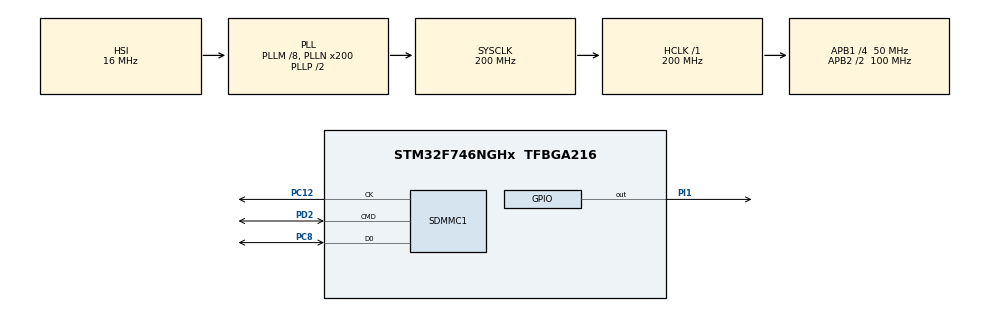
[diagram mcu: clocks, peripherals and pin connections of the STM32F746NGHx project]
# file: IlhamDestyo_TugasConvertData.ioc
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CORTEX_M7.ART_ACCELERATOR_ENABLE=1
CORTEX_M7.CPU_DCache=Enabled
CORTEX_M7.CPU_ICache=Enabled
CORTEX_M7.PREFETCH_ENABLE=1
FATFS._USE_LFN=2
Mcu.Family=STM32F7
Mcu.Name=STM32F746NGHx
Mcu.Package=TFBGA216
NVIC.PriorityGroup=NVIC_PRIORITYGROUP_4
NVIC.RCC_IRQn=true\:0\:0\:false\:false\:true\:true\:false\:true
PA13.Mode=Serial_Wire
PA13.Signal=SYS_JTMS-SWDIO
PA14.Mode=Serial_Wire
PA14.Signal=SYS_JTCK-SWCLK
PC12.Mode=SD_1_bit
PC12.Signal=SDMMC1_CK
PC14/OSC32_IN.Mode=LSE-External-Oscillator
PC14/OSC32_IN.Signal=RCC_OSC32_IN
PC15/OSC32_OUT.Mode=LSE-External-Oscillator
PC15/OSC32_OUT.Signal=RCC_OSC32_OUT
PC8.Mode=SD_1_bit
PC8.Signal=SDMMC1_D0
PD2.Mode=SD_1_bit
PD2.Signal=SDMMC1_CMD
PH0/OSC_IN.Mode=HSE-External-Oscillator
PH0/OSC_IN.Signal=RCC_OSC_IN
PH1/OSC_OUT.Mode=HSE-External-Oscillator
PH1/OSC_OUT.Signal=RCC_OSC_OUT
PI1.Signal=GPIO_Output
ProjectManager.HeapSize=0x400
ProjectManager.StackSize=0x800
ProjectManager.TargetToolchain=STM32CubeIDE
RCC.AHBFreq_Value=200000000
RCC.APB1CLKDivider=RCC_HCLK_DIV4
RCC.APB1Freq_Value=50000000
RCC.APB1TimFreq_Value=100000000
RCC.APB2CLKDivider=RCC_HCLK_DIV2
RCC.APB2Freq_Value=100000000
RCC.APB2TimFreq_Value=200000000
RCC.CortexFreq_Value=200000000
RCC.HCLKFreq_Value=200000000
RCC.HSE_VALUE=25000000
RCC.HSI_VALUE=16000000
RCC.PLLM=8
RCC.PLLN=200
RCC.PLLQ=8
RCC.PLLSourceVirtual=RCC_PLLSOURCE_HSI
RCC.SDMMCClockSelection=RCC_SDMMC1CLKSOURCE_CLK48
RCC.SYSCLKFreq_VALUE=200000000
RCC.SYSCLKSource=RCC_SYSCLKSOURCE_PLLCLK
RCC.USBFreq_Value=50000000
RCC.VCOOutputFreq_Value=400000000
VP_CRC_VS_CRC.Mode=CRC_Activate
VP_DMA2D_VS_DMA2D.Mode=DMA2D_Activate
VP_FATFS_VS_SDIO.Mode=SDIO
board=STM32F746G-DISCO

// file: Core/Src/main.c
/* USER CODE BEGIN Header */
/**
  ******************************************************************************
  * @file           : main.c
  * @brief          : Main program body
  ******************************************************************************
  * @attention
  *
  * Copyright (c) 2022 STMicroelectronics.
  * All rights reserved.
  *
  * This software is licensed under terms that can be found in the LICENSE file
  * in the root directory of this software component.
  * If no LICENSE file comes with this software, it is provided AS-IS.
  *
  ******************************************************************************
  */
/* USER CODE END Header */
#include "main.h"
#include "fatfs.h"

/* USER CODE BEGIN Includes */
#include <stdio.h>
#include <stdlib.h>
#include <string.h>
/* USER CODE END Includes */

CRC_HandleTypeDef hcrc;

DMA2D_HandleTypeDef hdma2d;

SD_HandleTypeDef hsd1;

/* USER CODE BEGIN PV */
FRESULT res; // fatfs return code
FATFS SDFatFs; /* Work area (filesystem object) for logical drive */
FIL MyFile; // file object

char SdPath[10];
uint32_t byteswritten, bytesread;

int datainput_1[999],datainput_2[999],datainput_3[999];
int number_data;
char *txtResult;
char datain1[200],dataraw[999][200];
/* USER CODE END PV */

void SystemClock_Config(void);
static void MX_GPIO_Init(void);
static void MX_SDMMC1_SD_Init(void);
static void MX_DMA2D_Init(void);
static void MX_CRC_Init(void);
/* USER CODE BEGIN PFP */
void mySD_Init();
void mySD_Mount();
void error1();
void reset();
void soal1();
void soal2();
void soal3();
void soal4();
void soal5();
void read_file(char *namafile);
void save_data_file(char *namafile, dataInput datatulis);

typedef enum _bool {
	false = 0,
	true = 1
} boolean;

/* USER CODE END PFP */

/* USER CODE BEGIN 0 */
TS_StateTypeDef  ts;
char xTouchStr[10];
/* USER CODE END 0 */

int main(void)
{

  /* Enable I-Cache---------------------------------------------------------*/
  SCB_EnableICache();

  /* Enable D-Cache---------------------------------------------------------*/
  SCB_EnableDCache();

  /* MCU Configuration--------------------------------------------------------*/

  /* Reset of all peripherals, Initializes the Flash interface and the Systick. */
  HAL_Init();

  /* Configure the system clock */
  SystemClock_Config();

  /* Initialize all configured peripherals */
  MX_GPIO_Init();
  MX_SDMMC1_SD_Init();
  MX_FATFS_Init();
  MX_DMA2D_Init();
  MX_CRC_Init();
  /* USER CODE BEGIN 2 */

  BSP_SDRAM_Init(); /* Initializes the SDRAM device */
  __HAL_RCC_CRC_CLK_ENABLE(); /* Enable the CRC Module */
  BSP_TS_Init(480, 272);//Inisialisasi 480x272 color LCD-TFT with capacitive touch screen
  BSP_LCD_Init(); //Inisialisasi LCD on
  BSP_LCD_LayerDefaultInit(LTDC_ACTIVE_LAYER, LCD_FB_START_ADDRESS); //Initializes the LCD layer in ARGB8888 format (32 bits per pixel).
  BSP_LCD_SelectLayer(LTDC_ACTIVE_LAYER);//LCD select layer

  //Delay Process
  BSP_LCD_Clear(LCD_COLOR_DARKGREEN);
  BSP_LCD_SetBackColor(LCD_COLOR_DARKGREEN);
  BSP_LCD_SetTextColor(LCD_COLOR_BROWN);
  BSP_LCD_DisplayStringAt(0, 100, (uint8_t*)"LOADING...", CENTER_MODE); // print text loading... dari koordinat tengah
  HAL_Delay(1000); // delay 1 detik
  BSP_LCD_Clear(LCD_COLOR_DARKGREEN);//clear lcd

  /* USER CODE END 2 */

  /* Infinite loop */
  /* USER CODE BEGIN WHILE */
  while (1)
  {
	 mySD_Init(); // inisialisasi microsd
	 mySD_Mount(); // mount microsd

//	 	BSP_LCD_Clear(LCD_COLOR_GREEN);//clear lcd

		//SOAL1
		BSP_TS_GetState(&ts); // Returns status and positions of the touch screen.
		BSP_LCD_SetBackColor(LCD_COLOR_GREEN);
		BSP_LCD_DisplayStringAt(0, 20, (uint8_t*)"SOAL 1", CENTER_MODE);
		BSP_LCD_SetBackColor(LCD_COLOR_GREEN);
		// Jika SOAL 1 ditekan
		if (ts.touchX[0] >= 220 && ts.touchX[0] <= 260 && ts.touchY[0] >= 20 && ts.touchY[0] <= 50)
		{
			BSP_LCD_Clear(LCD_COLOR_DARKGREEN);
			soal1(); // mengubah data soal 1
			// Membuat tampilan pesan soal sudah dikonvert
			BSP_LCD_Clear(LCD_COLOR_WHITE);
			BSP_LCD_SetBackColor(LCD_COLOR_WHITE);
			BSP_LCD_DisplayStringAt(0, 90, (uint8_t *)"BERHASIL CONVERT SOAL1", CENTER_MODE);
			BSP_LCD_DisplayStringAt(0, 110, (uint8_t *)"dan SIMPAN", CENTER_MODE);
			HAL_Delay(1000);
			BSP_TS_ResetTouchData(&ts);
			BSP_LCD_Clear(LCD_COLOR_DARKGREEN);
		}

		//SOAL2
		BSP_TS_GetState(&ts); // Returns status and positions of the touch screen.
		BSP_LCD_SetBackColor(LCD_COLOR_GREEN);
		BSP_LCD_DisplayStringAt(0, 70, (uint8_t*)"SOAL 2", CENTER_MODE);
		BSP_LCD_SetBackColor(LCD_COLOR_GREEN);
		if (ts.touchX[0] >= 220 && ts.touchX[0] <= 260 && ts.touchY[0] >= 70 && ts.touchY[0] <= 100)
		{
			BSP_LCD_Clear(LCD_COLOR_DARKGREEN);
			soal2();

			BSP_LCD_Clear(LCD_COLOR_WHITE);
			BSP_LCD_SetBackColor(LCD_COLOR_WHITE);
			BSP_LCD_DisplayStringAt(0, 90, (uint8_t *)"BERHASIL CONVERT SOAL", CENTER_MODE);
			BSP_LCD_DisplayStringAt(0, 110, (uint8_t *)"dan SIMPAN", CENTER_MODE);
			HAL_Delay(1000);
			BSP_TS_ResetTouchData(&ts);
			BSP_LCD_Clear(LCD_COLOR_DARKGREEN);
		} // if touch soal 2

		//SOAL3
		BSP_TS_GetState(&ts); // Returns status and positions of the touch screen.
		BSP_LCD_SetBackColor(LCD_COLOR_GREEN);
		BSP_LCD_DisplayStringAt(0, 120, (uint8_t*)"SOAL 3", CENTER_MODE);
		BSP_LCD_SetBackColor(LCD_COLOR_GREEN);
		if (ts.touchX[0] >= 220 && ts.touchX[0] <= 260 && ts.touchY[0] >= 120 && ts.touchY[0] <= 150)
		{
			BSP_LCD_Clear(LCD_COLOR_DARKGREEN);
			soal3();

			BSP_LCD_Clear(LCD_COLOR_WHITE);
			BSP_LCD_SetBackColor(LCD_COLOR_WHITE);
			BSP_LCD_DisplayStringAt(0, 90, (uint8_t *)"BERHASIL CONVERT SOAL", CENTER_MODE);
			BSP_LCD_DisplayStringAt(0, 110, (uint8_t *)"dan SIMPAN", CENTER_MODE);
			HAL_Delay(1000);
			BSP_TS_ResetTouchData(&ts);
			BSP_LCD_Clear(LCD_COLOR_DARKGREEN);
		}// if touch soal 3

		//SOAL4
		BSP_TS_GetState(&ts); // Returns status and positions of the touch screen.
		BSP_LCD_SetBackColor(LCD_COLOR_GREEN);
		BSP_LCD_DisplayStringAt(0, 170, (uint8_t*)"SOAL 4", CENTER_MODE);
		BSP_LCD_SetBackColor(LCD_COLOR_GREEN);
		if (ts.touchX[0] >= 220 && ts.touchX[0] <= 260 && ts.touchY[0] >= 170 && ts.touchY[0] <= 200)
		{
			BSP_LCD_Clear(LCD_COLOR_DARKGREEN);
			soal4();

			BSP_LCD_Clear(LCD_COLOR_WHITE);
			BSP_LCD_SetBackColor(LCD_COLOR_WHITE);
			BSP_LCD_DisplayStringAt(0, 90, (uint8_t *)"BERHASIL CONVERT SOAL", CENTER_MODE);
			BSP_LCD_DisplayStringAt(0, 110, (uint8_t *)"dan SIMPAN", CENTER_MODE);
			HAL_Delay(1000);
			BSP_TS_ResetTouchData(&ts);
			BSP_LCD_Clear(LCD_COLOR_DARKGREEN);
		} // if touch soal 4

		//SOAL5
		BSP_TS_GetState(&ts); // Returns status and positions of the touch screen.
		BSP_LCD_SetBackColor(LCD_COLOR_GREEN);
		BSP_LCD_DisplayStringAt(0, 220, (uint8_t*)"SOAL 5", CENTER_MODE);
		BSP_LCD_SetBackColor(LCD_COLOR_GREEN);
		if (ts.touchX[0] >= 220 && ts.touchX[0] <= 260 && ts.touchY[0] >= 220 && ts.touchY[0] <= 250)
		{
			BSP_LCD_Clear(LCD_COLOR_DARKGREEN);
			soal5();

			BSP_LCD_Clear(LCD_COLOR_WHITE);
			BSP_LCD_SetBackColor(LCD_COLOR_WHITE);
			BSP_LCD_DisplayStringAt(0, 90, (uint8_t *)"BERHASIL CONVERT SOAL", CENTER_MODE);
			BSP_LCD_DisplayStringAt(0, 110, (uint8_t *)"dan SIMPAN", CENTER_MODE);
			HAL_Delay(1000);
			BSP_TS_ResetTouchData(&ts);
			BSP_LCD_Clear(LCD_COLOR_DARKGREEN);
		} // if touch soal 5

		//Menu Text Box
		BSP_LCD_DisplayStringAt(0, 20, (uint8_t*)"SOAL 1", CENTER_MODE);
		BSP_LCD_SetBackColor(LCD_COLOR_GREEN);
		BSP_LCD_DisplayStringAt(0, 70, (uint8_t*)"SOAL 2", CENTER_MODE);
		BSP_LCD_SetBackColor(LCD_COLOR_GREEN);
		BSP_LCD_DisplayStringAt(0, 120, (uint8_t*)"SOAL 3", CENTER_MODE);
		BSP_LCD_SetBackColor(LCD_COLOR_GREEN);
		BSP_LCD_DisplayStringAt(0, 170, (uint8_t*)"SOAL 4", CENTER_MODE);
		BSP_LCD_SetBackColor(LCD_COLOR_GREEN);
		BSP_LCD_DisplayStringAt(0, 220, (uint8_t*)"SOAL 5", CENTER_MODE);
	/* Close the file */

    /* USER CODE END WHILE */

    /* USER CODE BEGIN 3 */
  } // while 1
  /* USER CODE END 3 */
} // main

void SystemClock_Config(void)
{
  RCC_OscInitTypeDef RCC_OscInitStruct = {0};
  RCC_ClkInitTypeDef RCC_ClkInitStruct = {0};

  /** Configure LSE Drive Capability
  */
  HAL_PWR_EnableBkUpAccess();

  /** Configure the main internal regulator output voltage
  */
  __HAL_RCC_PWR_CLK_ENABLE();
  __HAL_PWR_VOLTAGESCALING_CONFIG(PWR_REGULATOR_VOLTAGE_SCALE1);

  /** Initializes the RCC Oscillators according to the specified parameters
  * in the RCC_OscInitTypeDef structure.
  */
  RCC_OscInitStruct.OscillatorType = RCC_OSCILLATORTYPE_HSI;
  RCC_OscInitStruct.HSIState = RCC_HSI_ON;
  RCC_OscInitStruct.HSICalibrationValue = RCC_HSICALIBRATION_DEFAULT;
  RCC_OscInitStruct.PLL.PLLState = RCC_PLL_ON;
  RCC_OscInitStruct.PLL.PLLSource = RCC_PLLSOURCE_HSI;
  RCC_OscInitStruct.PLL.PLLM = 8;
  RCC_OscInitStruct.PLL.PLLN = 200;
  RCC_OscInitStruct.PLL.PLLP = RCC_PLLP_DIV2;
  RCC_OscInitStruct.PLL.PLLQ = 8;
  if (HAL_RCC_OscConfig(&RCC_OscInitStruct) != HAL_OK)
  {
    Error_Handler();
  }

  /** Activate the Over-Drive mode
  */
  if (HAL_PWREx_EnableOverDrive() != HAL_OK)
  {
    Error_Handler();
  }

  /** Initializes the CPU, AHB and APB buses clocks
  */
  RCC_ClkInitStruct.ClockType = RCC_CLOCKTYPE_HCLK|RCC_CLOCKTYPE_SYSCLK
                              |RCC_CLOCKTYPE_PCLK1|RCC_CLOCKTYPE_PCLK2;
  RCC_ClkInitStruct.SYSCLKSource = RCC_SYSCLKSOURCE_PLLCLK;
  RCC_ClkInitStruct.AHBCLKDivider = RCC_SYSCLK_DIV1;
  RCC_ClkInitStruct.APB1CLKDivider = RCC_HCLK_DIV4;
  RCC_ClkInitStruct.APB2CLKDivider = RCC_HCLK_DIV2;

  if (HAL_RCC_ClockConfig(&RCC_ClkInitStruct, FLASH_LATENCY_6) != HAL_OK)
  {
    Error_Handler();
  }
}

static void MX_CRC_Init(void)
{

  hcrc.Instance = CRC;
  hcrc.Init.DefaultPolynomialUse = DEFAULT_POLYNOMIAL_ENABLE;
  hcrc.Init.DefaultInitValueUse = DEFAULT_INIT_VALUE_ENABLE;
  hcrc.Init.InputDataInversionMode = CRC_INPUTDATA_INVERSION_NONE;
  hcrc.Init.OutputDataInversionMode = CRC_OUTPUTDATA_INVERSION_DISABLE;
  hcrc.InputDataFormat = CRC_INPUTDATA_FORMAT_BYTES;
  if (HAL_CRC_Init(&hcrc) != HAL_OK)
  {
    Error_Handler();
  }

}

static void MX_DMA2D_Init(void)
{

  hdma2d.Instance = DMA2D;
  hdma2d.Init.Mode = DMA2D_M2M;
  hdma2d.Init.ColorMode = DMA2D_OUTPUT_ARGB8888;
  hdma2d.Init.OutputOffset = 0;
  hdma2d.LayerCfg[1].InputOffset = 0;
  hdma2d.LayerCfg[1].InputColorMode = DMA2D_INPUT_ARGB8888;
  hdma2d.LayerCfg[1].AlphaMode = DMA2D_NO_MODIF_ALPHA;
  hdma2d.LayerCfg[1].InputAlpha = 0;
  if (HAL_DMA2D_Init(&hdma2d) != HAL_OK)
  {
    Error_Handler();
  }
  if (HAL_DMA2D_ConfigLayer(&hdma2d, 1) != HAL_OK)
  {
    Error_Handler();
  }

}

static void MX_SDMMC1_SD_Init(void)
{

  hsd1.Instance = SDMMC1;
  hsd1.Init.ClockEdge = SDMMC_CLOCK_EDGE_RISING;
  hsd1.Init.ClockBypass = SDMMC_CLOCK_BYPASS_DISABLE;
  hsd1.Init.ClockPowerSave = SDMMC_CLOCK_POWER_SAVE_DISABLE;
  hsd1.Init.BusWide = SDMMC_BUS_WIDE_1B;
  hsd1.Init.HardwareFlowControl = SDMMC_HARDWARE_FLOW_CONTROL_DISABLE;
  hsd1.Init.ClockDiv = 0;

}

static void MX_GPIO_Init(void)
{
  GPIO_InitTypeDef GPIO_InitStruct = {0};

  /* GPIO Ports Clock Enable */
  __HAL_RCC_GPIOC_CLK_ENABLE();
  __HAL_RCC_GPIOA_CLK_ENABLE();
  __HAL_RCC_GPIOD_CLK_ENABLE();
  __HAL_RCC_GPIOI_CLK_ENABLE();
  __HAL_RCC_GPIOH_CLK_ENABLE();

  /*Configure GPIO pin Output Level */
  HAL_GPIO_WritePin(GPIOI, GPIO_PIN_1, GPIO_PIN_RESET);

  /*Configure GPIO pin : PI1 */
  GPIO_InitStruct.Pin = GPIO_PIN_1;
  GPIO_InitStruct.Mode = GPIO_MODE_OUTPUT_PP;
  GPIO_InitStruct.Pull = GPIO_NOPULL;
  GPIO_InitStruct.Speed = GPIO_SPEED_FREQ_LOW;
  HAL_GPIO_Init(GPIOI, &GPIO_InitStruct);

}

/* USER CODE BEGIN 4 */
void mySD_Init(){
	res = BSP_SD_Init();//Inisialisas SD card
	if(res != FR_OK){
	BSP_LCD_Clear(LCD_COLOR_DARKGREEN); //Ketika LCD_Clear LCD berwarna putih
	BSP_LCD_SetBackColor(LCD_COLOR_DARKGREEN);//set background berwarna hijau
	BSP_LCD_SetTextColor(LCD_COLOR_BROWN);//set text berwarna coklat
	/*Display ERROR
	 *LCD pada koordinat X,Y dengan mode Center
	 *Ketika MICRO SD tidak terdeteksi*/
	BSP_LCD_DisplayStringAt(0, 100, (uint8_t*)"PLEASE INSERT MICRO SD", CENTER_MODE);
	error1();
	}
}

void mySD_Mount(){
	res = f_mount(&SDFatFs, "", 1);//Mounting MicroSD
	if(res != FR_OK){
	BSP_LCD_Clear(LCD_COLOR_WHITE);
	BSP_LCD_SetBackColor(LCD_COLOR_DARKGREEN);
	BSP_LCD_SetTextColor(LCD_COLOR_BROWN);
	/*Display ERROR
	 *LCD pada koordinat X,Y dengan mode Center
	 *Ketika MICRO SD tidak termounting*/
	BSP_LCD_DisplayStringAt(0, 100, (uint8_t*)"Error! cannot mount SD Card!", CENTER_MODE);
	error1();
	}
}

//Baca File
void read_file(char *namafile){
	res = f_open(&MyFile, namafile, FA_READ);
    if(res != FR_OK){
    	BSP_LCD_DisplayStringAt(0, 100, (uint8_t*)"Can't Read/No data.txt!", CENTER_MODE);
    	  error1();
    }
	int i = 0;
	int j = 0;
	while(!f_eof(&MyFile)){
		f_gets(datain1,200,&MyFile);
		strcpy(dataraw[i], shift_trim(datain1));
		if(strlen(dataraw[i])>=0){j++;strcpy(dataraw[j], shift_trim(datain1));}
		i++;
	}
    f_close(&MyFile);
	number_data = j;
	if(strlen(dataraw[number_data]) == strlen(dataraw[number_data-1])){number_data=j-1;}
	else{number_data = j;}
}

//Fungsi save data ke file.txt (setelah di convert)
void save_data_file(char *namafile, dataInput datatulis){
	  res = f_open(&MyFile, namafile, FA_CREATE_ALWAYS|FA_WRITE);
	  if(res != FR_OK){
		  error1();
	  }

	  res = f_lseek(&MyFile, f_size(&MyFile));
	  if(res != FR_OK){
		  error1();
	  }
    for (int i = 0;i < (datatulis.ndata+1);i++){
		f_printf(&MyFile, "%s %s %s \n",  datatulis.Input1[i], datatulis.Input2[i],datatulis.Input3[i]);
	}
	  f_close(&MyFile);
}

/*=================================Fungsi proses soal1-5=============================*/
void soal1()
{
	read_file("data.txt");

	get_data_from_rawdata();
	dataInput dataBaca;
	dataBaca.Input1 = calloc(999,sizeof(char));
	dataBaca.Input2 = calloc(999,sizeof(char));
	dataBaca.Input3 = calloc(999,sizeof(char));

	for(int i=0;i<number_data+1;i++){
		dataBaca.Input1[i]=IntToStr(datainput_1[i]);
		dataBaca.Input2[i]=IntToStr(datainput_2[i]);
		dataBaca.Input3[i]=IntToStr(datainput_3[i]);
	}
	dataBaca.ndata = number_data;

	save_data_file("data_copy1.txt",dataBaca);

	free(dataBaca.Input1),dataBaca.Input1=NULL;
	free(dataBaca.Input2),dataBaca.Input2=NULL;
	free(dataBaca.Input3),dataBaca.Input3=NULL;
}

void soal2()
{
	read_file("data.txt");
	printf("jumlah data = %d\n",number_data);

	get_data_from_rawdata();
	dataInput dataBaca;
	dataBaca.Input1 = calloc(9999,sizeof(char));
	dataBaca.Input2 = calloc(9999,sizeof(char));
	dataBaca.Input3 = calloc(9999,sizeof(char));

	for(int i=0;i<number_data+1;i++){
		dataBaca.Input1[i]=IntToStr(datainput_1[i]);
		dataBaca.Input2[i]=",";
		dataBaca.Input3[i]=IntToStr(datainput_3[i]);
	}
	dataBaca.ndata = number_data;

	save_data_file("data_copy2.txt",dataBaca);

	free(dataBaca.Input1),dataBaca.Input1=NULL;
	free(dataBaca.Input2),dataBaca.Input2=NULL;
	free(dataBaca.Input3),dataBaca.Input3=NULL;
}

void soal3()
{
	read_file("data.txt");
	printf("jumlah data = %d\n",number_data);

	get_data_from_rawdata();
	dataInput dataBaca;
	dataBaca.Input1 = calloc(9999,sizeof(char));
	dataBaca.Input2 = calloc(9999,sizeof(char));
	dataBaca.Input3 = calloc(9999,sizeof(char));
	int count1=0;
	int count2=0;
	for(int i=0;i<number_data+1;i++){
		if(isGanjil(datainput_1[i])==0){
			count1++;
			dataBaca.Input1[count1] = IntToStr(datainput_1[i]);
		}
		if(isGanjil(datainput_2[i])==0){
			count1++;
			dataBaca.Input1[count1] = IntToStr(datainput_2[i]);
		}
		if(isGanjil(datainput_3[i])==0){
			count1++;
			dataBaca.Input1[count1] = IntToStr(datainput_3[i]);
		}

		if(isGanjil(datainput_1[i])==1){
			count2++;
			dataBaca.Input2[count2] = IntToStr(datainput_1[i]);
		}
		if(isGanjil(datainput_2[i])==1){
			count2++;
			dataBaca.Input2[count2] = IntToStr(datainput_2[i]);
		}
		if(isGanjil(datainput_3[i])==1){
			count2++;
			dataBaca.Input2[count2] = IntToStr(datainput_3[i]);
		}
	}

	dataBaca.ndata = (count1 > count2 ? count1 : count2);

	for(int i=0;i<dataBaca.ndata+1;i++){
		if(dataBaca.Input1[i]==NULL){dataBaca.Input1[i]="";}
		if(dataBaca.Input2[i]==NULL){dataBaca.Input2[i]="";}
		dataBaca.Input3[i]="";
	}

	save_data_file("data_copy3.txt",dataBaca);

	free(dataBaca.Input1),dataBaca.Input1=NULL;
	free(dataBaca.Input2),dataBaca.Input2=NULL;
	free(dataBaca.Input3),dataBaca.Input3=NULL;
}

void soal4()
{
	read_file("data.txt");
	printf("jumlah data = %d\n",number_data);

	get_data_from_rawdata();
	dataInput dataBaca;
	dataBaca.Input1 = calloc(9999,sizeof(char));
	dataBaca.Input2 = calloc(9999,sizeof(char));
	dataBaca.Input3 = calloc(9999,sizeof(char));

	int count=0;
	for(int i=0;i<number_data+1;i++){
		count++;
		dataBaca.Input1[count]=IntToStr(datainput_1[i]);
		count++;
		dataBaca.Input1[count]=IntToStr(datainput_2[i]);
		count++;
		dataBaca.Input1[count]=IntToStr(datainput_3[i]);
	}
	dataBaca.ndata = count;
	for(int i=0;i<dataBaca.ndata+1;i++){
		if(dataBaca.Input1[i]==NULL){dataBaca.Input1[i]="";}
		dataBaca.Input2[i]="";
		dataBaca.Input3[i]="";
	}

	save_data_file("data_copy4.txt",dataBaca);

	free(dataBaca.Input1),dataBaca.Input1=NULL;
	free(dataBaca.Input2),dataBaca.Input2=NULL;
	free(dataBaca.Input3),dataBaca.Input3=NULL;
}

void soal5()
{
	read_file("data.txt");
	printf("jumlah data = %d\n",number_data);

	get_data_from_rawdata();
	dataInput dataBaca;
	dataBaca.Input1 = calloc(9999,sizeof(char));
	dataBaca.Input2 = calloc(9999,sizeof(char));
	dataBaca.Input3 = calloc(9999,sizeof(char));

	int count=0;
	for(int i=0;i<number_data+1;i++){
		count++;
		dataBaca.Input1[count]=IntToStr(datainput_1[i]);
		count++;
		dataBaca.Input1[count]=IntToStr(datainput_2[i]);
		count++;
		dataBaca.Input1[count]=IntToStr(datainput_3[i]);
	}
	dataBaca.ndata = count;
	for(int i=0;i<dataBaca.ndata+1;i++){
		if(dataBaca.Input1[i]==NULL){dataBaca.Input1[i]="";}
		dataBaca.Input2[i]="";
		dataBaca.Input3[i]="";

		if(isGanjil(atoi(dataBaca.Input1[i]))==1 && atoi(dataBaca.Input1[i]) > 5){dataBaca.Input1[i]="ganjil > 5";}
		else if(isGanjil(atoi(dataBaca.Input1[i]))==0 && atoi(dataBaca.Input1[i]) > 5){dataBaca.Input1[i]="genap > 5";}
		else{dataBaca.Input1[i]=dataBaca.Input1[i];}
	}

	save_data_file("data_copy5.txt",dataBaca);

	free(dataBaca.Input1),dataBaca.Input1=NULL;
	free(dataBaca.Input2),dataBaca.Input2=NULL;
	free(dataBaca.Input3),dataBaca.Input3=NULL;
}
/*==============================================END OF Fungsi proses soal1-5==================================*/

//System Reset (restart Hardware) via push reset
//mengembalikan sistem ke posisi awal
void reset(){
	BSP_TS_GetState(&ts);
	BSP_LCD_SetBackColor(LCD_COLOR_BLACK);
	BSP_LCD_DisplayStringAt(0, 150, (uint8_t *)"RESET", CENTER_MODE);
	if (ts.touchX[0] >= 180 && ts.touchX[0] <= 300 && ts.touchY[0] >= 140 && ts.touchY[0] <= 170){
		NVIC_SystemReset(); // Reset System
	}
}

//Error and restart
void error1(){
	while(1){
	reset();
	HAL_Delay(100);
	}
}
/* USER CODE END 4 */

void Error_Handler(void)
{
  __disable_irq();
  while (1)
  {
  }
}
